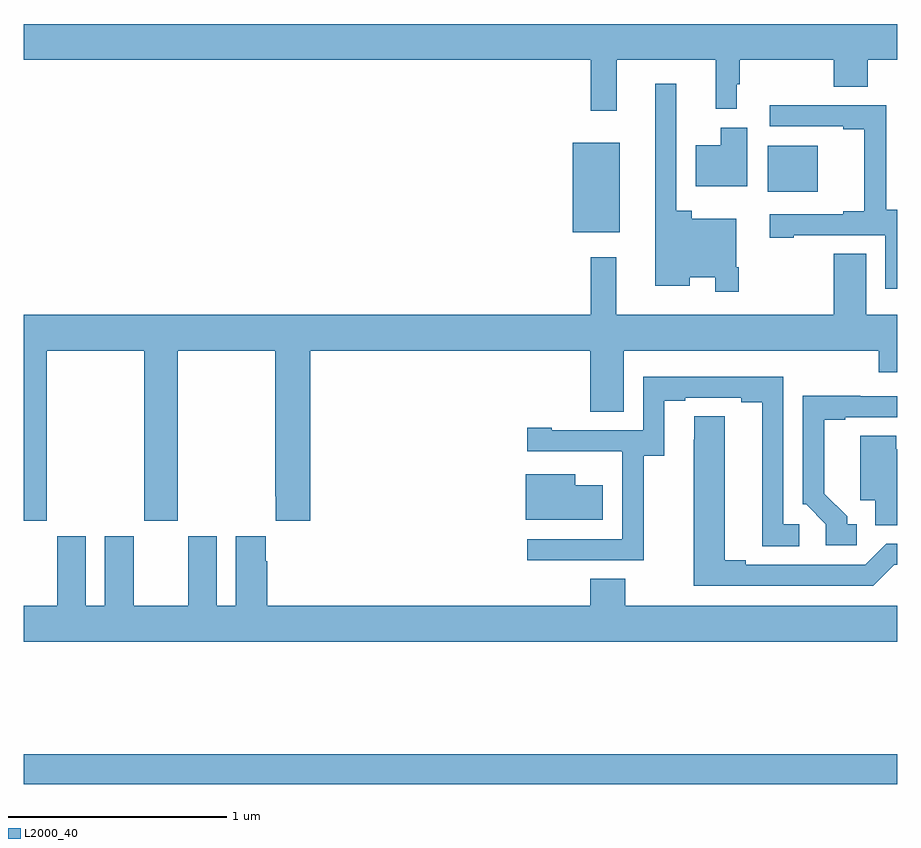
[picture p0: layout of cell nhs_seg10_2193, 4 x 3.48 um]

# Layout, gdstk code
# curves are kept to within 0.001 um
import gdstk
lib = gdstk.Library(unit=1e-6, precision=1e-09)
def R(c, l, rs):  # rectangles x0, y0, x1, y1
    for r in rs: c.add(gdstk.rectangle(r[:2], r[2:], *l))
def P(c, l, *ps):  # polygons
    for p in ps: c.add(gdstk.Polygon(p, *l))
L2000_40 = (2000, 40)

nhs_seg10_2193 = lib.new_cell('nhs_seg10_2193')
R(nhs_seg10_2193, L2000_40, [(227,1300.996,231,1301.132), (229.514,1303.523,229.729,1303.933), (230.408,1303.709,230.635,1303.918)])
P(nhs_seg10_2193, L2000_40, [(229.715,1304.312),(230.168,1304.312),(230.168,1304.087),(230.266,1304.087),(230.266,1304.2),(230.278,1304.2),(230.278,1304.312),(230.71,1304.312),(230.71,1304.188),(230.865,1304.188),(230.865,1304.312),(231,1304.312),(231,1304.476),(227,1304.476),(227,1304.312),(229.597,1304.312),(229.597,1304.079),(229.715,1304.079)],
  [(230.275,1303.363),(230.262,1303.363),(230.262,1303.585),(230.058,1303.585),(230.058,1303.621),(229.989,1303.621),(229.989,1304.203),(229.892,1304.203),(229.892,1303.277),(230.05,1303.277),(230.05,1303.316),(230.166,1303.316),(230.166,1303.251),(230.275,1303.251)],
  [(231,1303.625),(230.949,1303.625),(230.949,1304.103),(230.415,1304.103),(230.415,1304.007),(230.753,1304.007),(230.753,1303.995),(230.849,1303.995),(230.849,1303.618),(230.753,1303.618),(230.753,1303.605),(230.415,1303.605),(230.415,1303.497),(230.527,1303.497),(230.527,1303.509),(230.946,1303.509),(230.946,1303.263),(231,1303.263)],
  [(230.314,1304.002),(230.192,1304.002),(230.192,1303.921),(230.078,1303.921),(230.078,1303.733),(230.314,1303.733)],
  [(227.106,1302.98),(227.551,1302.98),(227.551,1302.201),(227.706,1302.201),(227.706,1302.98),(228.151,1302.98),(228.151,1302.313),(228.155,1302.313),(228.155,1302.201),(228.311,1302.201),(228.311,1302.98),(229.595,1302.98),(229.595,1302.7),(229.747,1302.7),(229.747,1302.98),(230.915,1302.98),(230.915,1302.882),(231,1302.882),(231,1303.144),(230.857,1303.144),(230.857,1303.424),(230.71,1303.424),(230.71,1303.144),(229.714,1303.144),(229.714,1303.408),(229.597,1303.408),(229.597,1303.144),(227,1303.144),(227,1302.201),(227.106,1302.201)],
  [(229.839,1302.499),(229.933,1302.499),(229.933,1302.75),(230.029,1302.75),(230.029,1302.765),(230.285,1302.765),(230.285,1302.745),(230.381,1302.745),(230.381,1302.085),(230.551,1302.085),(230.551,1302.186),(230.478,1302.186),(230.478,1302.861),(229.836,1302.861),(229.836,1302.615),(229.417,1302.615),(229.417,1302.628),(229.305,1302.628),(229.305,1302.519),(229.739,1302.519),(229.739,1302.518),(229.74,1302.518),(229.74,1302.117),(229.305,1302.117),(229.305,1302.021),(229.839,1302.021)],
  [(230.815,1302.186),(230.77,1302.186),(230.77,1302.221),(230.665,1302.326),(230.665,1302.663),(230.761,1302.663),(230.761,1302.675),(231,1302.675),(231,1302.771),(230.831,1302.771),(230.831,1302.773),(230.568,1302.773),(230.568,1302.276),(230.583,1302.276),(230.673,1302.186),(230.673,1302.09),(230.815,1302.09)],
  [(230.985,1302),(231,1302),(231,1302.096),(230.949,1302.096),(230.853,1302),(230.305,1302),(230.305,1302.02),(230.209,1302.02),(230.209,1302.68),(230.07,1302.68),(230.069,1301.904),(230.889,1301.904)],
  [(231,1302.529),(230.995,1302.529),(230.995,1302.59),(230.831,1302.59),(230.831,1302.296),(230.9,1302.296),(230.9,1302.181),(231,1302.181)],
  [(229.651,1302.364),(229.525,1302.364),(229.525,1302.415),(229.298,1302.415),(229.298,1302.206),(229.651,1302.206)],
  [(227.972,1302.13),(227.972,1301.812),(227.884,1301.812),(227.884,1302.13),(227.753,1302.13),(227.753,1301.812),(227.503,1301.812),(227.503,1302.13),(227.372,1302.13),(227.372,1301.812),(227.284,1301.812),(227.284,1302.13),(227.153,1302.13),(227.153,1301.812),(227,1301.812),(227,1301.648),(231,1301.648),(231,1301.812),(229.755,1301.812),(229.755,1301.936),(229.595,1301.936),(229.595,1301.812),(228.116,1301.812),(228.116,1302.017),(228.109,1302.017),(228.109,1302.13)])

lib.write_gds('nhs_seg10_2193.gds')
